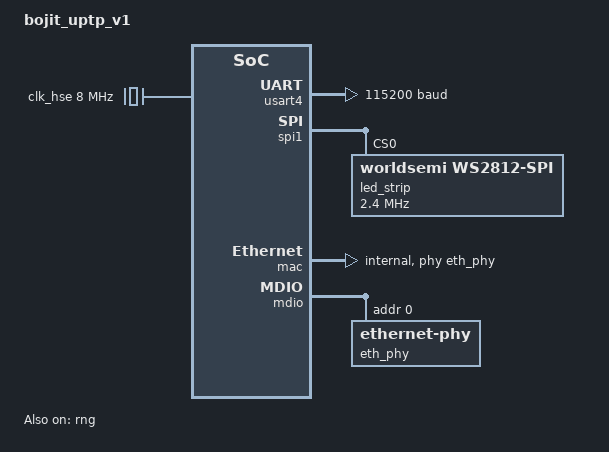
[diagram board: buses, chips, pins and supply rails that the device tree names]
/*
 * Copyright (c) 2025 James Bennion-Pedley
 * SPDX-License-Identifier: Apache-2.0
 */

/dts-v1/;

#include <wch/ch32v307/ch32v307wc.dtsi>
#include <zephyr/dt-bindings/gpio/gpio.h>
#include <zephyr/dt-bindings/led/led.h>
#include <zephyr/dt-bindings/input/input-event-codes.h>
#include "uptp_v1-pinctrl.dtsi"

/ {
	model = "bojit_uptp_v1";
	compatible = "bojit,uptp_v1";

	chosen {
		zephyr,sram = &sram0;
		zephyr,flash = &flash0;
		zephyr,console = &usart4;
		zephyr,shell-uart = &usart4;
	};
};

&clk_hse {
	clock-frequency = <DT_FREQ_M(8)>;
	status = "okay";
};

&pll {
	clocks = <&clk_hse>;
	status = "okay";
};

&rcc {
	clocks = <&pll>;
};


&gpioa {
	status = "okay";
};

&gpioc {
	status = "okay";
};

&usart4 {
	status = "okay";
	current-speed = <115200>;
	pinctrl-0 = <&usart4_default>;
	pinctrl-names = "default";
};

&spi1 {
	status = "okay";
	pinctrl-0 = <&spi1_default>;
	pinctrl-names = "default";

	led_strip: ws2812@0 {
		compatible = "worldsemi,ws2812-spi";
		status = "okay";
		reg = <0>;
		spi-cpha;
		spi-one-frame = <0xf0>;  /* 625 ns high and 625 ns low */
		spi-zero-frame = <0xc0>; /* 312.5 ns high and 937.5 ns low */
		spi-max-frequency = <2400000>;
		chain-length = <2>;
		color-mapping = <LED_COLOR_ID_GREEN LED_COLOR_ID_RED LED_COLOR_ID_BLUE>;
	};
};

&rng {
	status = "okay";
};

&mac {
	status = "okay";
	pinctrl-0 = <&mac_default>;
	pinctrl-names = "default";
	phy-connection-type = "internal";
	phy-handle = <&eth_phy>;
};

&mdio {
	status = "okay";
	pinctrl-0 = <&mdio_default>;
	pinctrl-names = "default";

	eth_phy: ethernet-phy@0 {
		compatible = "ethernet-phy";
		reg = <0x00>;
	};
};
